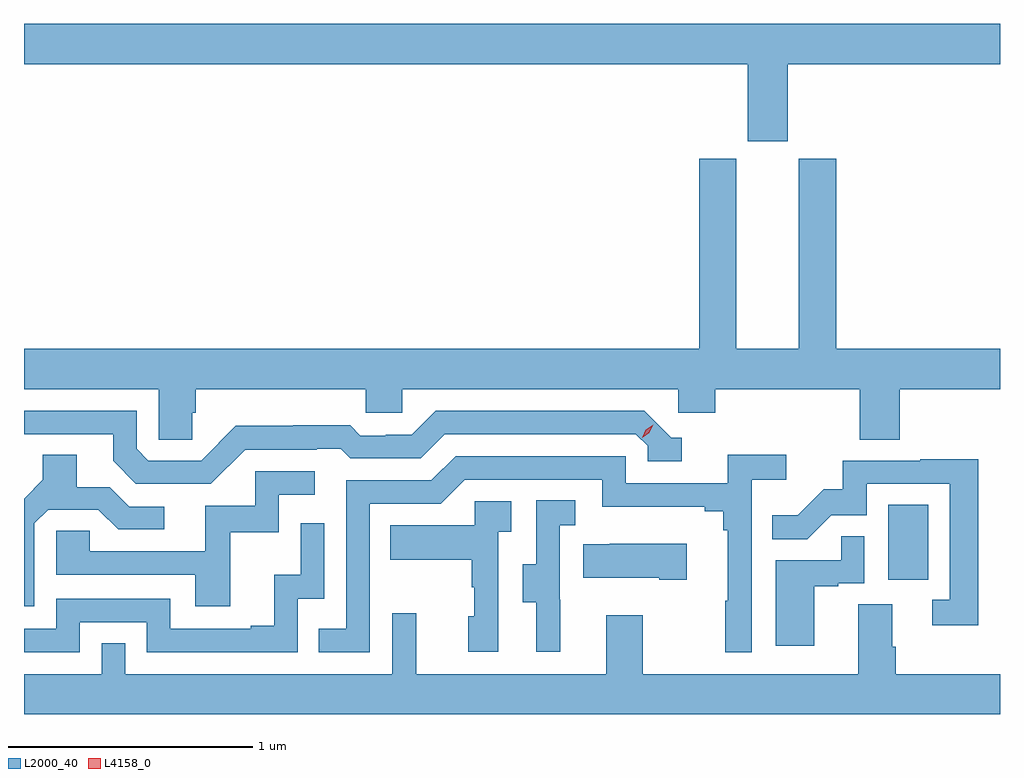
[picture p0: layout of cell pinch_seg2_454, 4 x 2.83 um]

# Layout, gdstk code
import gdstk
lib = gdstk.Library(unit=1e-6, precision=1e-09)
def R(c, l, rs):  # rectangles x0, y0, x1, y1
    for r in rs: c.add(gdstk.rectangle(r[:2], r[2:], *l))
def P(c, l, *ps):  # polygons
    for p in ps: c.add(gdstk.Polygon(p, *l))
L2000_40 = (2000, 40)
L4158_0 = (4158, 0)

pinch_seg2_454 = lib.new_cell('pinch_seg2_454')
R(pinch_seg2_454, L2000_40, [(907.73,596.238,907.894,596.545)])
P(pinch_seg2_454, L2000_40, [(907.318,598.352),(908.188,598.352),(908.188,598.516),(904.188,598.516),(904.188,598.352),(907.154,598.352),(907.154,598.035),(907.318,598.035)],
  [(904.877,596.922),(904.892,596.922),(904.892,597.02),(905.589,597.02),(905.589,596.922),(905.739,596.922),(905.739,597.02),(906.87,597.02),(906.87,596.922),(907.022,596.922),(907.022,597.02),(907.613,597.02),(907.613,596.812),(907.778,596.812),(907.778,597.02),(908.188,597.02),(908.188,597.184),(907.517,597.184),(907.517,597.963),(907.364,597.963),(907.364,597.184),(907.108,597.184),(907.108,597.963),(906.956,597.963),(906.956,597.184),(904.188,597.184),(904.188,597.02),(904.74,597.02),(904.74,596.812),(904.877,596.812)],
  [(905.094,596.772),(905.387,596.772),(905.387,596.775),(905.486,596.775),(905.525,596.736),(905.814,596.736),(905.913,596.835),(906.696,596.835),(906.744,596.787),(906.744,596.724),(906.883,596.724),(906.883,596.82),(906.84,596.82),(906.729,596.931),(905.876,596.931),(905.777,596.832),(905.67,596.832),(905.67,596.829),(905.567,596.829),(905.525,596.872),(905.292,596.872),(905.292,596.869),(905.056,596.869),(904.914,596.727),(904.698,596.727),(904.65,596.775),(904.65,596.931),(904.188,596.931),(904.188,596.835),(904.553,596.835),(904.553,596.725),(904.647,596.631),(904.953,596.631)],
  [(905.604,596.55),(905.895,596.55),(905.994,596.649),(906.558,596.649),(906.558,596.537),(906.977,596.537),(906.977,596.518),(907.054,596.518),(907.054,596.441),(907.073,596.441),(907.073,596.153),(907.062,596.153),(907.062,595.941),(907.17,595.941),(907.17,596.648),(907.312,596.648),(907.312,596.75),(907.073,596.75),(907.073,596.634),(906.654,596.634),(906.654,596.745),(905.957,596.745),(905.858,596.646),(905.508,596.646),(905.508,596.037),(905.395,596.037),(905.395,595.941),(905.604,595.941)],
  [(904.23,596.469),(904.287,596.526),(904.493,596.526),(904.574,596.445),(904.762,596.445),(904.762,596.538),(904.62,596.538),(904.54,596.618),(904.405,596.618),(904.405,596.75),(904.265,596.75),(904.265,596.648),(904.188,596.571),(904.188,596.13),(904.23,596.13)],
  [(908.099,596.732),(907.861,596.732),(907.861,596.727),(907.543,596.727),(907.543,596.61),(907.466,596.61),(907.359,596.503),(907.255,596.503),(907.255,596.404),(907.399,596.404),(907.497,596.502),(907.641,596.502),(907.641,596.631),(907.983,596.631),(907.983,596.157),(907.911,596.157),(907.911,596.052),(908.099,596.052)],
  [(905.033,596.433),(905.232,596.433),(905.232,596.586),(905.38,596.586),(905.38,596.682),(905.136,596.682),(905.136,596.541),(904.931,596.541),(904.931,596.355),(904.457,596.355),(904.457,596.439),(904.32,596.439),(904.32,596.259),(904.889,596.259),(904.889,596.13),(905.033,596.13)],
  [(906.386,596.157),(906.384,596.157),(906.384,596.461),(906.448,596.461),(906.448,596.564),(906.288,596.564),(906.288,596.301),(906.233,596.301),(906.233,596.146),(906.287,596.146),(906.287,595.944),(906.386,595.944)],
  [(906.132,596.435),(906.184,596.435),(906.184,596.559),(906.036,596.559),(906.036,596.461),(905.689,596.461),(905.689,596.321),(906.024,596.321),(906.024,596.207),(906.034,596.207),(906.034,596.088),(906.008,596.088),(906.008,595.944),(906.132,595.944)],
  [(904.416,596.064),(904.692,596.064),(904.692,595.941),(905.31,595.941),(905.31,596.16),(905.418,596.16),(905.418,596.47),(905.322,596.47),(905.322,596.258),(905.213,596.258),(905.213,596.05),(905.117,596.05),(905.117,596.037),(904.788,596.037),(904.788,596.16),(904.32,596.16),(904.32,596.037),(904.188,596.037),(904.188,595.941),(904.416,595.941)],
  [(907.426,596.211),(907.526,596.211),(907.526,596.223),(907.632,596.223),(907.632,596.417),(907.537,596.417),(907.537,596.319),(907.268,596.319),(907.268,595.968),(907.426,595.968)],
  [(906.904,596.386),(906.589,596.386),(906.589,596.383),(906.481,596.383),(906.481,596.246),(906.791,596.246),(906.791,596.239),(906.904,596.239)],
  [(908.188,595.852),(907.76,595.852),(907.76,595.964),(907.747,595.964),(907.747,596.138),(907.607,596.138),(907.607,595.852),(906.723,595.852),(906.723,596.092),(906.575,596.092),(906.575,595.852),(905.795,595.852),(905.795,596.101),(905.697,596.101),(905.697,595.852),(904.602,595.852),(904.602,595.979),(904.506,595.979),(904.506,595.852),(904.188,595.852),(904.188,595.688),(908.188,595.688)])
P(pinch_seg2_454, L4158_0, [(906.721,596.82),(906.721,596.821),(906.736,596.853),(906.766,596.874),(906.767,596.874),(906.767,596.873),(906.751,596.84),(906.721,596.82)])

lib.write_gds('pinch_seg2_454.gds')
